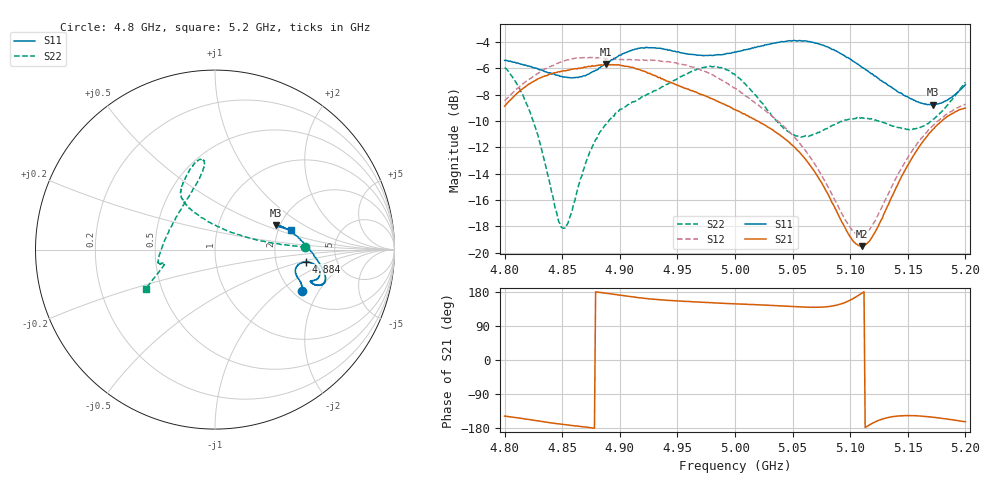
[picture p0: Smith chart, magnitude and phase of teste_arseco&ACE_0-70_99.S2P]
! Network Analyzer HP8722D
! Hewlett-Packard
! Data name: Linha & Wilkinson
! Saver's name: Rodrigo Anjos
! Comments: Teste da utilização de aquisição
! continua pelo VNA HP8722D
! Time and date: 8/5/2025 13:35
!  Frequency  S11  S21  S12  S22
# HZ  S  MA R 50
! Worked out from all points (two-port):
!   401 points, 4.8 GHz to 5.2 GHz, reference 50 ohm
!   highest |S21| = -5.69 dB at 4.888 GHz (marker M1); lowest = -19.5 dB at 5.11 GHz (marker M2)
!   |S21| within 3 dB of the highest: 4.802 GHz to 4.989 GHz (187.4 MHz wide, 3.83 % of centre)
!   lowest |S11| = -8.8 dB at 5.172 GHz (marker M3), VSWR 2.15, Z = 95.2 + j29.6 ohm
!   |S11| at or under -10 dB: nowhere
!   |S22| runs from -18.1 to -5.8 dB; largest |S21 - S12| = 1.1
!   S11 on the Smith chart (normalised r, x): 4.8 GHz: 2.23, -1.45; 4.884 GHz: 2.97, -0.54; 5.2 GHz: 2.33, +0.63
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4.8e9  0.5373 -25.5  0.3598 -148.2  0.3775 11.4  0.5037 1.6
4.813e9  0.5219 -22.2  0.4102 -153.4  0.4268 9.4  0.4196 3.3
4.824e9  0.5054 -20.6  0.444 -158.4  0.4635 7.6  0.3227 6.3
4.849e9  0.4677 -16.3  0.4884 -169.4  0.5296 4.0  0.1253 56.3
4.855e9  0.462 -14.5  0.4931 -171.7  0.5399 2.8  0.1294 83.8
4.867e9  0.4656 -11.1  0.5035 -175.8  0.5487 1.3  0.1954 113.7
4.884e9  0.5102 -7.6  0.5168 177.8  0.5478 -0.2  0.2916 122.4
4.888e9  0.5232 -7.8  0.5194 176.3  0.5442 -0.2  0.3067 122.7
4.912e9  0.5895 -10.7  0.5034 166.1  0.5395 0.4  0.374 120.5
4.934e9  0.5975 -15.4  0.4622 159.1  0.5362 -0.8  0.4188 114.2
4.975e9  0.5608 -18.4  0.3922 151.7  0.4856 -4.6  0.5077 100.2
5e9  0.5786 -19.1  0.3492 148.0  0.4211 -4.8  0.4735 97.4
5.018e9  0.6016 -19.1  0.3181 146.1  0.3691 -2.1  0.3963 103.8
5.044e9  0.6346 -17.4  0.2689 142.0  0.2966 3.4  0.2919 130.9
5.067e9  0.6293 -13.2  0.2097 139.3  0.2248 9.7  0.28 164.4
5.098e9  0.5513 -3.0  0.1187 155.0  0.1285 36.0  0.32 -170.2
5.11e9  0.5061 2.6  0.1058 176.1  0.1165 59.4  0.3255 -167.0
5.119e9  0.4781 7.2  0.1145 -167.3  0.1267 77.1  0.3215 -165.7
5.134e9  0.4295 14.1  0.1555 -151.1  0.1703 94.7  0.3056 -165.4
5.152e9  0.3851 20.1  0.2225 -146.8  0.2366 101.9  0.2932 -164.6
5.172e9  0.3645 21.7  0.2943 -151.2  0.3042 103.3  0.321 -159.9
5.2e9  0.4349 14.6  0.3539 -162.9  0.3664 103.6  0.4435 -150.2
